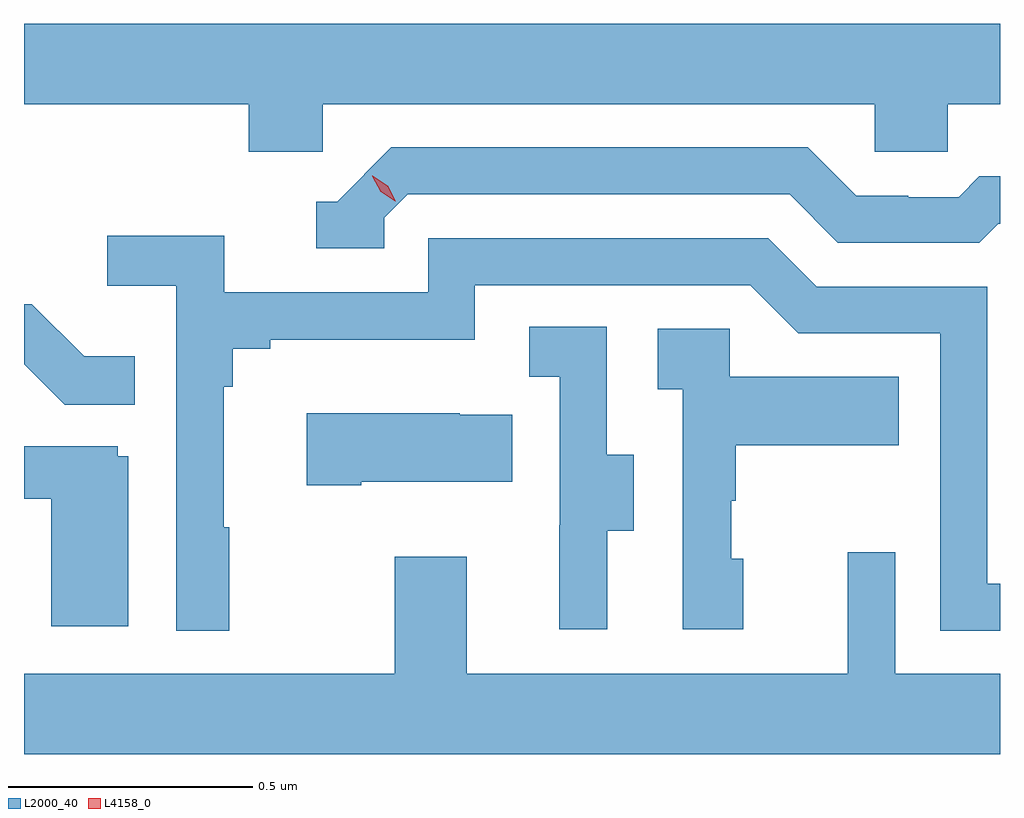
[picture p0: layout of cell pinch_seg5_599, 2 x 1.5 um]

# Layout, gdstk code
import gdstk
lib = gdstk.Library(unit=1e-6, precision=1e-09)
def P(c, l, *ps):  # polygons
    for p in ps: c.add(gdstk.Polygon(p, *l))
L2000_40 = (2000, 40)
L4158_0 = (4158, 0)

pinch_seg5_599 = lib.new_cell('pinch_seg5_599')
P(pinch_seg5_599, L2000_40, [(1120.722,858.092),(1121.853,858.092),(1121.853,857.994),(1122.003,857.994),(1122.003,858.092),(1122.11,858.092),(1122.11,858.256),(1120.11,858.256),(1120.11,858.092),(1120.571,858.092),(1120.571,857.994),(1120.722,857.994)],
  [(1120.848,857.859),(1120.896,857.907),(1121.679,857.907),(1121.778,857.808),(1122.067,857.808),(1122.106,857.847),(1122.11,857.847),(1122.11,857.944),(1122.067,857.944),(1122.025,857.901),(1121.922,857.901),(1121.922,857.904),(1121.815,857.904),(1121.716,858.003),(1120.863,858.003),(1120.752,857.892),(1120.709,857.892),(1120.709,857.796),(1120.848,857.796)],
  [(1120.531,857.225),(1120.519,857.225),(1120.519,857.513),(1120.538,857.513),(1120.538,857.59),(1120.615,857.59),(1120.615,857.609),(1121.034,857.609),(1121.034,857.721),(1121.598,857.721),(1121.697,857.622),(1121.988,857.622),(1121.988,857.013),(1122.11,857.013),(1122.11,857.109),(1122.084,857.109),(1122.084,857.718),(1121.734,857.718),(1121.635,857.817),(1120.938,857.817),(1120.938,857.706),(1120.52,857.706),(1120.52,857.822),(1120.281,857.822),(1120.281,857.72),(1120.422,857.72),(1120.422,857.013),(1120.531,857.013)],
  [(1120.337,857.575),(1120.233,857.575),(1120.126,857.682),(1120.11,857.682),(1120.11,857.559),(1120.193,857.476),(1120.337,857.476)],
  [(1121.305,857.218),(1121.359,857.218),(1121.359,857.373),(1121.304,857.373),(1121.304,857.636),(1121.145,857.636),(1121.145,857.533),(1121.208,857.533),(1121.208,857.229),(1121.207,857.229),(1121.207,857.016),(1121.305,857.016)],
  [(1121.584,857.16),(1121.559,857.16),(1121.559,857.279),(1121.569,857.279),(1121.569,857.393),(1121.903,857.393),(1121.903,857.533),(1121.556,857.533),(1121.556,857.631),(1121.409,857.631),(1121.409,857.507),(1121.46,857.507),(1121.46,857.016),(1121.584,857.016)],
  [(1120.801,857.318),(1121.111,857.318),(1121.111,857.455),(1121.003,857.455),(1121.003,857.458),(1120.689,857.458),(1120.689,857.311),(1120.801,857.311)],
  [(1120.324,857.37),(1120.302,857.37),(1120.302,857.391),(1120.11,857.391),(1120.11,857.283),(1120.166,857.283),(1120.166,857.022),(1120.324,857.022)],
  [(1122.11,856.924),(1121.895,856.924),(1121.895,857.173),(1121.798,857.173),(1121.798,856.924),(1121.017,856.924),(1121.017,857.164),(1120.87,857.164),(1120.87,856.924),(1120.11,856.924),(1120.11,856.76),(1122.11,856.76)])
P(pinch_seg5_599, L4158_0, [(1120.871,857.893),(1120.841,857.912),(1120.824,857.944),(1120.824,857.945),(1120.825,857.945),(1120.855,857.925),(1120.872,857.893),(1120.872,857.893)])

lib.write_gds('pinch_seg5_599.gds')
